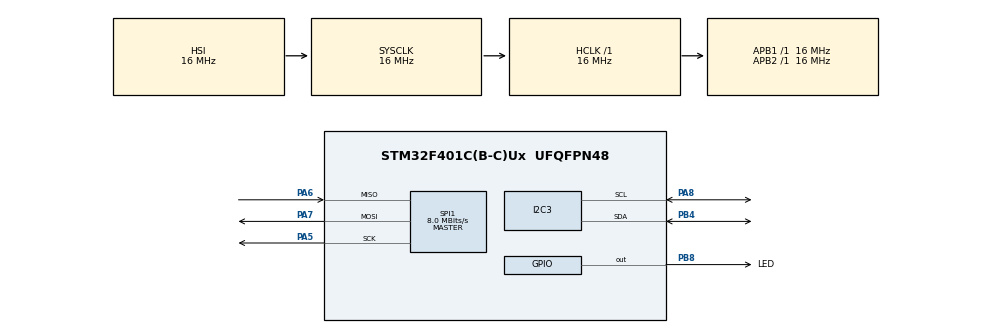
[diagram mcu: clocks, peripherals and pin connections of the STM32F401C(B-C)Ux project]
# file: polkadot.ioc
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ADC1.Channel-0\#ChannelRegularConversion=ADC_CHANNEL_TEMPSENSOR
ADC1.ClockPrescaler=ADC_CLOCK_SYNC_PCLK_DIV8
ADC1.NbrOfConversionFlag=1
ADC1.Rank-0\#ChannelRegularConversion=1
ADC1.SamplingTime-0\#ChannelRegularConversion=ADC_SAMPLETIME_28CYCLES
ADC1.master=1
Mcu.Family=STM32F4
Mcu.Name=STM32F401C(B-C)Ux
Mcu.Package=UFQFPN48
NVIC.PriorityGroup=NVIC_PRIORITYGROUP_4
PA5.Mode=Full_Duplex_Master
PA5.Signal=SPI1_SCK
PA6.Mode=Full_Duplex_Master
PA6.Signal=SPI1_MISO
PA7.Mode=Full_Duplex_Master
PA7.Signal=SPI1_MOSI
PA8.Mode=I2C
PA8.Signal=I2C3_SCL
PB4.Mode=I2C
PB4.Signal=I2C3_SDA
PB6.Signal=USART1_TX
PB7.Signal=USART1_RX
PB8.GPIO_Label=LED
PB8.Signal=GPIO_Output
ProjectManager.HeapSize=0x200
ProjectManager.StackSize=0x400
ProjectManager.TargetToolchain=STM32CubeIDE
RCC.AHBFreq_Value=16000000
RCC.APB1Freq_Value=16000000
RCC.APB2Freq_Value=16000000
RCC.CortexFreq_Value=16000000
RCC.HSE_VALUE=16000000
RCC.HSI_VALUE=16000000
RCC.SYSCLKFreq_VALUE=16000000
RCC.VCOOutputFreq_Value=192000000
SPI1.CalculateBaudRate=8.0 MBits/s
SPI1.Direction=SPI_DIRECTION_2LINES
SPI1.Mode=SPI_MODE_MASTER
SPI1.VirtualType=VM_MASTER
VP_ADC1_TempSens_Input.Mode=IN-TempSens
VP_RTC_VS_RTC_Activate.Mode=RTC_Enabled
board=custom

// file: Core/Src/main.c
/* USER CODE BEGIN Header */
/*
 * Main C file used for demos. Most of this is generated HAL, but the important stuff
 * can be found in USER CODE sections, especially after USER CODE BEGIN 4
 */
/**
  ******************************************************************************
  * @file           : main.c
  * @brief          : Main program body
  ******************************************************************************
  * @attention
  *
  * <h2><center>&copy; Copyright (c) 2021 STMicroelectronics.
  * All rights reserved.</center></h2>
  *
  * This software component is licensed by ST under BSD 3-Clause license,
  * the "License"; You may not use this file except in compliance with the
  * License. You may obtain a copy of the License at:
  *                        opensource.org/licenses/BSD-3-Clause
  *
  ******************************************************************************
  */
/* USER CODE END Header */
#include "main.h"

/* USER CODE BEGIN Includes */
#include "sx1276.h"
#include "polkadot.h"
#include <stdlib.h>
/* USER CODE END Includes */

/* USER CODE BEGIN PD */
#define PI_NODE 0		//this  determines whether or not this node is "special" or "stock"
#define DATA_REQ 55
/* USER CODE END PD */

ADC_HandleTypeDef hadc1;

I2C_HandleTypeDef hi2c3;

RTC_HandleTypeDef hrtc;

SPI_HandleTypeDef hspi1;

/* USER CODE BEGIN PV */

uint8_t data[16] = "hello world!\n\r";			//UART Transmit Buffer
uint8_t cmd_rx_buf[16];				//receive buffer for mesh commands from Pi
uint8_t cmd_tx_buf[16];
volatile uint8_t tx_len = 5;

volatile unsigned char xdone_flag = 0;
volatile unsigned char rx_flag = 0;
volatile unsigned char spi_flag = 0;
volatile unsigned char spi_rx_tx = 0;

/* USER CODE END PV */

void SystemClock_Config(void);
static void MX_GPIO_Init(void);
static void MX_RTC_Init(void);
static void MX_SPI1_Init(void);
static void MX_ADC1_Init(void);
static void MX_I2C3_Init(void);
/* USER CODE BEGIN PFP */

//prototypes for functions used directly in main
uint8_t spi_transfer(uint8_t data[], uint8_t len);
uint16_t readTemp();

/* USER CODE END PFP */

int main(void)
{

  /* MCU Configuration--------------------------------------------------------*/

  /* Reset of all peripherals, Initializes the Flash interface and the Systick. */
  HAL_Init();

  /* Configure the system clock */
  SystemClock_Config();

  /* Initialize all configured peripherals */
  MX_GPIO_Init();
  MX_RTC_Init();
  MX_SPI1_Init();
  MX_ADC1_Init();
  MX_I2C3_Init();
  /* USER CODE BEGIN 2 */
  SX1276_Init(SYNC_WORD, 24);  //Initialize the SX1276

  //PHASE 3 Demo:
  if(PI_NODE){
	  polkadot_init(4); //the hard-coded address of the Pi Node is 4
  } else {
	  uint32_t unique_seed = get_UID();	//initialize with a random ID
	  DEBUG_PRINT("device id: %d\n\r", unique_seed);
	  srand(unique_seed);
	  uint32_t new_id;
	  new_id = rand();
	  while(new_id < 11){
		  new_id = rand();
	  }
	  DEBUG_PRINT("New ID: %d\n\r", new_id);
	  polkadot_init(new_id);
	  rand_delay();
	  mesh_send_hello();
  }

  //MAIN DEMO2 TEST
//	  polkadot_init(50); //For data-sender
//	  HAL_Delay(100);
//	  mesh_transmit(10, data, 3);

//	  polkadot_init(10);   //For Receiver
//	  polkadot_init(25);  //Intermediate

  //RANGE TEST
//  polkadot_init(1);  //transmitter
//  polkadot_init(10); //receiver

//  //EMI TEST
//  HAL_Delay(100);
//  SX1276_Set_Mode(FSTX);  //set mode to FSTX so PLL is turned on
  SX1276_Start_Receive();
  /* USER CODE END 2 */

  /* Infinite loop */
  while (1)
  {

    /* USER CODE BEGIN 3 */

//	  //RANGE TEST  -- Transmitter
//	  mesh_transmit(10, data, 16);
//	  SX1276_Start_Receive();
//	  HAL_Delay(1000);

//	  //TRANSMIT TEST
//	  HAL_Delay(2000);
//	  DEBUG_PRINT("Transmitting a Packet\n\r");
//	  HAL_Delay(10);
//	  SX1276_Transmit(data, 20);
//	  DEBUG_PRINT("\n\r");

//	  //RECEIVE TEST
//	  uint8_t length;
//	  SX1276_Receive(nrx_data, &length);
//	  DEBUG_PRINT("Packet Data: ");
//	  DEBUG_PRINT((char *) nrx_data);
//	  DEBUG_PRINT("\n\r\n\r");
//
//	  //RSSI TEST
//	  uint8_t rssivalue = SX1276_Get_RSSI();
//	  DEBUG_PRINT("RSSI Value = %ddB\n\r", rssivalue);

//	  //MESH TEST - Source
//	  //Expected packet - [0, 0, 0, 0, 0, 0, 0, 0, 0, 0, 0, 2, 0, 0, 0, 3, 0, 0, 0, 0, 104, 101, 108, 108, 111, 32, 119, 111, 114, 108, 100, 33, 10, 13, 0, 0]
//	  my_id = 0;
//	  uint8_t cast_result = mesh_send_data(3, 0, data, 2, 0, my_id, 16);
//	  if(cast_result){
//		  DEBUG_PRINT("Cast Successful\n\r");
//	  } else {
//		  DEBUG_PRINT("Cast Failed\n\r");
//	  }
//	  HAL_Delay(10000);

//	  //Temperature sensor test
//	  uint16_t temp = readTemp();
//	  DEBUG_PRINT("Temp: %d\n\r", temp);
//	  HAL_Delay(1000);

	  //process incoming requests from the Pi
//	  if(spi_flag && !spi_rx_tx && PI_NODE){ //!HAL_GPIO_ReadPin(SPI2_AS_GPIO_Port, SPI2_AS_Pin) && PI_NODE){		//wait for AS pin
//		  spi_flag = 0;
//		  DEBUG_PRINT("Received command:");
//		  printarr(cmd_rx_buf, 5);
//		  DEBUG_PRINT("\n\r");
//		  if(cmd_rx_buf[0] == DATA_REQ){
//			  uint32_t node_addr = cmd_rx_buf[1] << 24 | cmd_rx_buf[2] << 16 | cmd_rx_buf[3] << 8 | cmd_rx_buf[4];
//			  uint8_t data_req_arr[1] = {DATA_REQ};
//			  DEBUG_PRINT("Requesting data from node #%d\n\r", node_addr);
//			  mesh_transmit(node_addr, data_req_arr, 1);
//		  }
//		  SX1276_Start_Receive();		//go for a new packet
//	  }
	  if(xdone_flag){
		  xdone_flag = 0;
		  if(rx_flag){
		      uint8_t len = SX1276_Read_Register(REG_RX_NB_BYTES); //get packet length
		      uint8_t rxbuf[len];
		      SX1276_Read_Burst(REG_FIFO, rxbuf, len);
		      SX1276_Set_Mode(STDBY);
		      DEBUG_PRINT("Entering Packet Handler\n\r");
		      receive_packet_handler(rxbuf, len);
		      SX1276_Start_Receive();
		  }
	  }

  }
  /* USER CODE END 3 */
}

void SystemClock_Config(void)
{
  RCC_OscInitTypeDef RCC_OscInitStruct = {0};
  RCC_ClkInitTypeDef RCC_ClkInitStruct = {0};
  RCC_PeriphCLKInitTypeDef PeriphClkInitStruct = {0};

  /** Configure the main internal regulator output voltage
  */
  __HAL_RCC_PWR_CLK_ENABLE();
  __HAL_PWR_VOLTAGESCALING_CONFIG(PWR_REGULATOR_VOLTAGE_SCALE2);
  /** Initializes the RCC Oscillators according to the specified parameters
  * in the RCC_OscInitTypeDef structure.
  */
  RCC_OscInitStruct.OscillatorType = RCC_OSCILLATORTYPE_HSI|RCC_OSCILLATORTYPE_LSI;
  RCC_OscInitStruct.HSIState = RCC_HSI_ON;
  RCC_OscInitStruct.HSICalibrationValue = RCC_HSICALIBRATION_DEFAULT;
  RCC_OscInitStruct.LSIState = RCC_LSI_ON;
  RCC_OscInitStruct.PLL.PLLState = RCC_PLL_NONE;
  if (HAL_RCC_OscConfig(&RCC_OscInitStruct) != HAL_OK)
  {
    Error_Handler();
  }
  /** Initializes the CPU, AHB and APB buses clocks
  */
  RCC_ClkInitStruct.ClockType = RCC_CLOCKTYPE_HCLK|RCC_CLOCKTYPE_SYSCLK
                              |RCC_CLOCKTYPE_PCLK1|RCC_CLOCKTYPE_PCLK2;
  RCC_ClkInitStruct.SYSCLKSource = RCC_SYSCLKSOURCE_HSI;
  RCC_ClkInitStruct.AHBCLKDivider = RCC_SYSCLK_DIV1;
  RCC_ClkInitStruct.APB1CLKDivider = RCC_HCLK_DIV1;
  RCC_ClkInitStruct.APB2CLKDivider = RCC_HCLK_DIV1;

  if (HAL_RCC_ClockConfig(&RCC_ClkInitStruct, FLASH_LATENCY_0) != HAL_OK)
  {
    Error_Handler();
  }
  PeriphClkInitStruct.PeriphClockSelection = RCC_PERIPHCLK_RTC;
  PeriphClkInitStruct.RTCClockSelection = RCC_RTCCLKSOURCE_LSI;
  if (HAL_RCCEx_PeriphCLKConfig(&PeriphClkInitStruct) != HAL_OK)
  {
    Error_Handler();
  }
}

static void MX_ADC1_Init(void)
{

  ADC_ChannelConfTypeDef sConfig = {0};

  /** Configure the global features of the ADC (Clock, Resolution, Data Alignment and number of conversion)
  */
  hadc1.Instance = ADC1;
  hadc1.Init.ClockPrescaler = ADC_CLOCK_SYNC_PCLK_DIV8;
  hadc1.Init.Resolution = ADC_RESOLUTION_12B;
  hadc1.Init.ScanConvMode = DISABLE;
  hadc1.Init.ContinuousConvMode = DISABLE;
  hadc1.Init.DiscontinuousConvMode = DISABLE;
  hadc1.Init.ExternalTrigConvEdge = ADC_EXTERNALTRIGCONVEDGE_NONE;
  hadc1.Init.ExternalTrigConv = ADC_SOFTWARE_START;
  hadc1.Init.DataAlign = ADC_DATAALIGN_RIGHT;
  hadc1.Init.NbrOfConversion = 1;
  hadc1.Init.DMAContinuousRequests = DISABLE;
  hadc1.Init.EOCSelection = ADC_EOC_SINGLE_CONV;
  if (HAL_ADC_Init(&hadc1) != HAL_OK)
  {
    Error_Handler();
  }
  /** Configure for the selected ADC regular channel its corresponding rank in the sequencer and its sample time.
  */
  sConfig.Channel = ADC_CHANNEL_TEMPSENSOR;
  sConfig.Rank = 1;
  sConfig.SamplingTime = ADC_SAMPLETIME_28CYCLES;
  if (HAL_ADC_ConfigChannel(&hadc1, &sConfig) != HAL_OK)
  {
    Error_Handler();
  }

}

static void MX_I2C3_Init(void)
{

  hi2c3.Instance = I2C3;
  hi2c3.Init.ClockSpeed = 100000;
  hi2c3.Init.DutyCycle = I2C_DUTYCYCLE_2;
  hi2c3.Init.OwnAddress1 = 0;
  hi2c3.Init.AddressingMode = I2C_ADDRESSINGMODE_7BIT;
  hi2c3.Init.DualAddressMode = I2C_DUALADDRESS_DISABLE;
  hi2c3.Init.OwnAddress2 = 0;
  hi2c3.Init.GeneralCallMode = I2C_GENERALCALL_DISABLE;
  hi2c3.Init.NoStretchMode = I2C_NOSTRETCH_DISABLE;
  if (HAL_I2C_Init(&hi2c3) != HAL_OK)
  {
    Error_Handler();
  }

}

static void MX_RTC_Init(void)
{

  /** Initialize RTC Only
  */
  hrtc.Instance = RTC;
  hrtc.Init.HourFormat = RTC_HOURFORMAT_24;
  hrtc.Init.AsynchPrediv = 127;
  hrtc.Init.SynchPrediv = 255;
  hrtc.Init.OutPut = RTC_OUTPUT_DISABLE;
  hrtc.Init.OutPutPolarity = RTC_OUTPUT_POLARITY_HIGH;
  hrtc.Init.OutPutType = RTC_OUTPUT_TYPE_OPENDRAIN;
  if (HAL_RTC_Init(&hrtc) != HAL_OK)
  {
    Error_Handler();
  }

}

static void MX_SPI1_Init(void)
{

  /* SPI1 parameter configuration*/
  hspi1.Instance = SPI1;
  hspi1.Init.Mode = SPI_MODE_MASTER;
  hspi1.Init.Direction = SPI_DIRECTION_2LINES;
  hspi1.Init.DataSize = SPI_DATASIZE_8BIT;
  hspi1.Init.CLKPolarity = SPI_POLARITY_LOW;
  hspi1.Init.CLKPhase = SPI_PHASE_1EDGE;
  hspi1.Init.NSS = SPI_NSS_SOFT;
  hspi1.Init.BaudRatePrescaler = SPI_BAUDRATEPRESCALER_2;
  hspi1.Init.FirstBit = SPI_FIRSTBIT_MSB;
  hspi1.Init.TIMode = SPI_TIMODE_DISABLE;
  hspi1.Init.CRCCalculation = SPI_CRCCALCULATION_DISABLE;
  hspi1.Init.CRCPolynomial = 10;
  if (HAL_SPI_Init(&hspi1) != HAL_OK)
  {
    Error_Handler();
  }

}

static void MX_GPIO_Init(void)
{
  GPIO_InitTypeDef GPIO_InitStruct = {0};

  /* GPIO Ports Clock Enable */
  __HAL_RCC_GPIOA_CLK_ENABLE();
  __HAL_RCC_GPIOB_CLK_ENABLE();

  /*Configure GPIO pin Output Level */
  HAL_GPIO_WritePin(LED_GPIO_Port, LED_Pin, GPIO_PIN_RESET);

  /*Configure GPIO pins : PB6 PB7 */
  GPIO_InitStruct.Pin = GPIO_PIN_6|GPIO_PIN_7;
  GPIO_InitStruct.Mode = GPIO_MODE_AF_PP;
  GPIO_InitStruct.Pull = GPIO_NOPULL;
  GPIO_InitStruct.Speed = GPIO_SPEED_FREQ_VERY_HIGH;
  GPIO_InitStruct.Alternate = GPIO_AF7_USART1;
  HAL_GPIO_Init(GPIOB, &GPIO_InitStruct);

  /*Configure GPIO pin : LED_Pin */
  GPIO_InitStruct.Pin = LED_Pin;
  GPIO_InitStruct.Mode = GPIO_MODE_OUTPUT_PP;
  GPIO_InitStruct.Pull = GPIO_NOPULL;
  GPIO_InitStruct.Speed = GPIO_SPEED_FREQ_LOW;
  HAL_GPIO_Init(LED_GPIO_Port, &GPIO_InitStruct);

}

/* USER CODE BEGIN 4 */

//GPIO callback. Handles interrupts from the SX1276 and the raspberry pi.
void HAL_GPIO_EXTI_Callback(uint16_t GPIO_Pin){
	if(GPIO_Pin == XDONE_Pin){
		xdone_flag = 1;
	}
	if(GPIO_Pin == SPI2_AS_Pin && PI_NODE){
		HAL_SPI_TransmitReceive(&hspi2, cmd_tx_buf, cmd_rx_buf, tx_len, 1000);
		while (HAL_SPI_GetState(&hspi2) != HAL_SPI_STATE_READY){}
		if(!spi_rx_tx && PI_NODE){ //!HAL_GPIO_ReadPin(SPI2_AS_GPIO_Port, SPI2_AS_Pin) && PI_NODE){		//wait for AS pin
			spi_flag = 0;
			DEBUG_PRINT("Received command:");
			printarr(cmd_rx_buf, 5);
			DEBUG_PRINT("\n\r");
			if(cmd_rx_buf[0] == DATA_REQ){
				uint32_t node_addr = cmd_rx_buf[1] << 24 | cmd_rx_buf[2] << 16 | cmd_rx_buf[3] << 8 | cmd_rx_buf[4];
				uint8_t data_req_arr[1] = {DATA_REQ};
				DEBUG_PRINT("Requesting data from node #%d\n\r", node_addr);
				mesh_transmit(node_addr, data_req_arr, 1);
			  }
		  }
		SX1276_Start_Receive();
	}
}

//read the temperature sensor for the STM32
uint16_t readTemp(){
	DEBUG_PRINT("\tReading Temperature\n\r");
	HAL_ADC_Start(&hadc1);
	HAL_ADC_PollForConversion(&hadc1, 1);
	uint16_t value = HAL_ADC_GetValue(&hadc1);
	return value;
}

//handshaking protocol for communicating with the raspberry pi
uint8_t spi_transfer(uint8_t data[], uint8_t length){
	DEBUG_PRINT("transferring data to the Pi over SPI\n\r");
	spi_rx_tx = 1;
	for(int i = 0; i < length; i ++){
		cmd_tx_buf[i] = data[i];
	}
	tx_len = length;
	HAL_GPIO_WritePin(DATA_RDY_GPIO_Port, DATA_RDY_Pin, GPIO_PIN_SET);
    while (!spi_flag){
    }
    HAL_GPIO_WritePin(DATA_RDY_GPIO_Port, DATA_RDY_Pin, GPIO_PIN_RESET);
    HAL_SPI_Transmit(&hspi2, data, length,100);
    HAL_Delay(50);
    spi_rx_tx = 0;
    tx_len = 5;
    return SUCCESS;
}

//FUNCTION FOR DOING STUFF WITH DATA
uint8_t DATA_RX_HANDLER(struct data_packet rx_pkt){
	//Print the received data to the console
	DEBUG_PRINT("Received Data: ");
	DEBUG_PRINT((char *) rx_pkt.packet_data);
	DEBUG_PRINT("\n\r");
	if(PI_NODE){
		uint8_t spi_data[6];
		spi_data[0] = rx_pkt.packet_data[0];
		spi_data[1] = rx_pkt.packet_data[1];
		spi_data[2] = (rx_pkt.source_id & 0xFF);
		spi_data[3] = (rx_pkt.source_id >> 8) & 0xFF;
		spi_data[4] = (rx_pkt.source_id >> 16) & 0xFF;
		spi_data[5] = (rx_pkt.source_id >> 24) & 0xFF;
		spi_transfer(spi_data, 6);
		SX1276_Start_Receive();
	} else {
		if(rx_pkt.packet_data[0] == DATA_REQ){		//reply with my temperature if that was a data request
			uint16_t mytemp = readTemp();
			uint8_t temppack[2] = {(mytemp & 0xFF), (mytemp >> 8)};
			mesh_transmit(4, temppack, 2);
		}
	}
	return SUCCESS;
}

/* USER CODE END 4 */

void Error_Handler(void)
{
}

#ifdef  USE_FULL_ASSERT
/**
  * @brief  Reports the name of the source file and the source line number
  *         where the assert_param error has occurred.
  * @param  file: pointer to the source file name
  * @param  line: assert_param error line source number
  * @retval None
  */
void assert_failed(uint8_t *file, uint32_t line)
{
  /* USER CODE BEGIN 6 */
  /* User can add their own implementation to report the file name and line number,
     tex: printf("Wrong parameters value: file %s on line %d\r\n", file, line) */
  /* USER CODE END 6 */
}
#endif /* USE_FULL_ASSERT */

/************************ (C) COPYRIGHT STMicroelectronics *****END OF FILE****/
